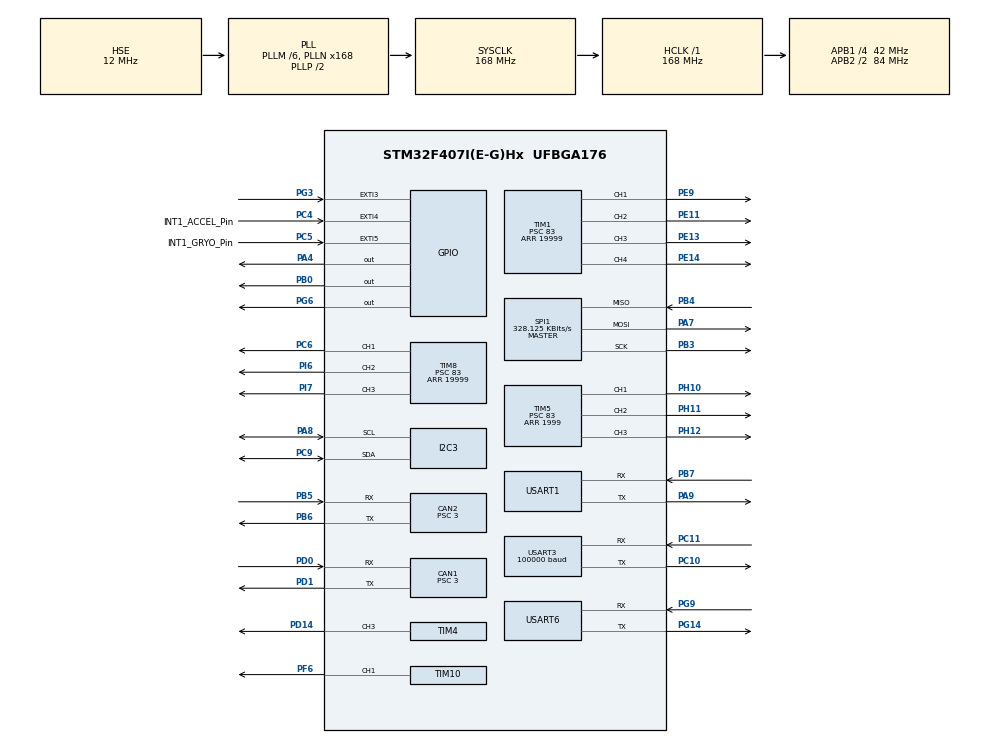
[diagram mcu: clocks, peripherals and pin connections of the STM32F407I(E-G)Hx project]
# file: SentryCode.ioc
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CAN1.BS1=CAN_BS1_10TQ
CAN1.BS2=CAN_BS2_3TQ
CAN1.CalculateBaudRate=1000000
CAN1.CalculateTimeBit=1000
CAN1.CalculateTimeQuantum=71.42857142857143
CAN1.Prescaler=3
CAN2.BS1=CAN_BS1_10TQ
CAN2.BS2=CAN_BS2_3TQ
CAN2.CalculateBaudRate=1000000
CAN2.CalculateTimeBit=1000
CAN2.CalculateTimeQuantum=71.42857142857143
CAN2.Prescaler=3
Dma.Request0=USART3_RX
Dma.Request1=USART1_TX
Dma.Request2=USART1_RX
Dma.Request3=USART6_RX
Dma.Request4=USART6_TX
Dma.Request5=TIM4_CH3
Dma.Request6=TIM5_CH1
Dma.Request7=TIM5_CH2
Dma.TIM4_CH3.5.Direction=DMA_PERIPH_TO_MEMORY
Dma.TIM4_CH3.5.FIFOMode=DMA_FIFOMODE_DISABLE
Dma.TIM4_CH3.5.Instance=DMA1_Stream7
Dma.TIM4_CH3.5.MemDataAlignment=DMA_MDATAALIGN_HALFWORD
Dma.TIM4_CH3.5.MemInc=DMA_MINC_ENABLE
Dma.TIM4_CH3.5.Mode=DMA_NORMAL
Dma.TIM4_CH3.5.PeriphDataAlignment=DMA_PDATAALIGN_HALFWORD
Dma.TIM4_CH3.5.PeriphInc=DMA_PINC_DISABLE
Dma.TIM4_CH3.5.Priority=DMA_PRIORITY_LOW
Dma.TIM5_CH1.6.Direction=DMA_PERIPH_TO_MEMORY
Dma.TIM5_CH1.6.FIFOMode=DMA_FIFOMODE_DISABLE
Dma.TIM5_CH1.6.Instance=DMA1_Stream2
Dma.TIM5_CH1.6.MemDataAlignment=DMA_MDATAALIGN_WORD
Dma.TIM5_CH1.6.MemInc=DMA_MINC_ENABLE
Dma.TIM5_CH1.6.Mode=DMA_NORMAL
Dma.TIM5_CH1.6.PeriphDataAlignment=DMA_PDATAALIGN_WORD
Dma.TIM5_CH1.6.PeriphInc=DMA_PINC_DISABLE
Dma.TIM5_CH1.6.Priority=DMA_PRIORITY_LOW
Dma.TIM5_CH2.7.Direction=DMA_PERIPH_TO_MEMORY
Dma.TIM5_CH2.7.FIFOMode=DMA_FIFOMODE_DISABLE
Dma.TIM5_CH2.7.Instance=DMA1_Stream4
Dma.TIM5_CH2.7.MemDataAlignment=DMA_MDATAALIGN_WORD
Dma.TIM5_CH2.7.MemInc=DMA_MINC_ENABLE
Dma.TIM5_CH2.7.Mode=DMA_NORMAL
Dma.TIM5_CH2.7.PeriphDataAlignment=DMA_PDATAALIGN_WORD
Dma.TIM5_CH2.7.PeriphInc=DMA_PINC_DISABLE
Dma.TIM5_CH2.7.Priority=DMA_PRIORITY_LOW
Dma.USART1_RX.2.Direction=DMA_PERIPH_TO_MEMORY
Dma.USART1_RX.2.FIFOMode=DMA_FIFOMODE_DISABLE
Dma.USART1_RX.2.Instance=DMA2_Stream2
Dma.USART1_RX.2.MemDataAlignment=DMA_MDATAALIGN_BYTE
Dma.USART1_RX.2.MemInc=DMA_MINC_ENABLE
Dma.USART1_RX.2.Mode=DMA_NORMAL
Dma.USART1_RX.2.PeriphDataAlignment=DMA_PDATAALIGN_BYTE
Dma.USART1_RX.2.PeriphInc=DMA_PINC_DISABLE
Dma.USART1_RX.2.Priority=DMA_PRIORITY_VERY_HIGH
Dma.USART1_TX.1.Direction=DMA_MEMORY_TO_PERIPH
Dma.USART1_TX.1.FIFOMode=DMA_FIFOMODE_DISABLE
Dma.USART1_TX.1.Instance=DMA2_Stream7
Dma.USART1_TX.1.MemDataAlignment=DMA_MDATAALIGN_BYTE
Dma.USART1_TX.1.MemInc=DMA_MINC_ENABLE
Dma.USART1_TX.1.Mode=DMA_NORMAL
Dma.USART1_TX.1.PeriphDataAlignment=DMA_PDATAALIGN_BYTE
Dma.USART1_TX.1.PeriphInc=DMA_PINC_DISABLE
Dma.USART1_TX.1.Priority=DMA_PRIORITY_VERY_HIGH
Dma.USART3_RX.0.Direction=DMA_PERIPH_TO_MEMORY
Dma.USART3_RX.0.FIFOMode=DMA_FIFOMODE_DISABLE
Dma.USART3_RX.0.Instance=DMA1_Stream1
Dma.USART3_RX.0.MemDataAlignment=DMA_MDATAALIGN_BYTE
Dma.USART3_RX.0.MemInc=DMA_MINC_ENABLE
Dma.USART3_RX.0.Mode=DMA_CIRCULAR
Dma.USART3_RX.0.PeriphDataAlignment=DMA_PDATAALIGN_BYTE
Dma.USART3_RX.0.PeriphInc=DMA_PINC_DISABLE
Dma.USART3_RX.0.Priority=DMA_PRIORITY_VERY_HIGH
Dma.USART6_RX.3.Direction=DMA_PERIPH_TO_MEMORY
Dma.USART6_RX.3.FIFOMode=DMA_FIFOMODE_DISABLE
Dma.USART6_RX.3.Instance=DMA2_Stream1
Dma.USART6_RX.3.MemDataAlignment=DMA_MDATAALIGN_BYTE
Dma.USART6_RX.3.MemInc=DMA_MINC_ENABLE
Dma.USART6_RX.3.Mode=DMA_NORMAL
Dma.USART6_RX.3.PeriphDataAlignment=DMA_PDATAALIGN_BYTE
Dma.USART6_RX.3.PeriphInc=DMA_PINC_DISABLE
Dma.USART6_RX.3.Priority=DMA_PRIORITY_VERY_HIGH
Dma.USART6_TX.4.Direction=DMA_MEMORY_TO_PERIPH
Dma.USART6_TX.4.FIFOMode=DMA_FIFOMODE_DISABLE
Dma.USART6_TX.4.Instance=DMA2_Stream6
Dma.USART6_TX.4.MemDataAlignment=DMA_MDATAALIGN_BYTE
Dma.USART6_TX.4.MemInc=DMA_MINC_ENABLE
Dma.USART6_TX.4.Mode=DMA_NORMAL
Dma.USART6_TX.4.PeriphDataAlignment=DMA_PDATAALIGN_BYTE
Dma.USART6_TX.4.PeriphInc=DMA_PINC_DISABLE
Dma.USART6_TX.4.Priority=DMA_PRIORITY_VERY_HIGH
FREERTOS.INCLUDE_pcTaskGetTaskName=1
FREERTOS.INCLUDE_xTaskGetHandle=1
FREERTOS.Tasks01=defaultTask,32,1024,TaskMain,Default,NULL,Dynamic,NULL,NULL;chassisTask,40,1124,TaskChassis,Default,NULL,Dynamic,NULL,NULL;IMUtempPIDtask,24,512,imu_temp_control_task,As weak,NULL,Dynamic,NULL,NULL;turretTask,40,1024,TaskTurret,Default,NULL,Dynamic,NULL,NULL
FREERTOS.configUSE_NEWLIB_REENTRANT=1
I2C3.I2C_Mode=I2C_Fast
Mcu.Family=STM32F4
Mcu.Name=STM32F407I(E-G)Hx
Mcu.Package=UFBGA176
NVIC.CAN1_RX0_IRQn=true\:5\:0\:false\:false\:true\:true\:true\:true\:true
NVIC.CAN2_RX0_IRQn=true\:5\:0\:false\:false\:true\:true\:true\:true\:true
NVIC.DMA1_Stream1_IRQn=true\:5\:0\:false\:false\:true\:true\:false\:true\:true
NVIC.DMA1_Stream2_IRQn=true\:5\:0\:false\:false\:true\:true\:false\:true\:true
NVIC.DMA1_Stream4_IRQn=true\:5\:0\:false\:false\:true\:true\:false\:true\:true
NVIC.DMA1_Stream7_IRQn=true\:5\:0\:false\:false\:true\:true\:false\:true\:true
NVIC.DMA2_Stream1_IRQn=true\:5\:0\:false\:false\:true\:true\:false\:true\:true
NVIC.DMA2_Stream2_IRQn=true\:5\:0\:false\:false\:true\:true\:false\:true\:true
NVIC.DMA2_Stream6_IRQn=true\:5\:0\:false\:false\:true\:true\:false\:true\:true
NVIC.DMA2_Stream7_IRQn=true\:5\:0\:false\:false\:true\:true\:false\:true\:true
NVIC.EXTI3_IRQn=true\:5\:0\:false\:false\:true\:true\:true\:true\:true
NVIC.EXTI4_IRQn=true\:5\:0\:false\:false\:true\:true\:true\:true\:true
NVIC.PriorityGroup=NVIC_PRIORITYGROUP_4
NVIC.USART1_IRQn=true\:5\:0\:false\:false\:true\:true\:true\:true\:true
NVIC.USART3_IRQn=true\:5\:0\:false\:false\:false\:true\:true\:true\:true
NVIC.USART6_IRQn=true\:5\:0\:false\:false\:true\:true\:true\:true\:true
PA13.Mode=Serial_Wire
PA13.Signal=SYS_JTMS-SWDIO
PA14.Mode=Serial_Wire
PA14.Signal=SYS_JTCK-SWCLK
PA4.Signal=GPIO_Output
PA7.Mode=Full_Duplex_Master
PA7.Signal=SPI1_MOSI
PA8.Mode=I2C
PA8.Signal=I2C3_SCL
PA9.Mode=Asynchronous
PA9.Signal=USART1_TX
PB0.Signal=GPIO_Output
PB3.Mode=Full_Duplex_Master
PB3.Signal=SPI1_SCK
PB4.Mode=Full_Duplex_Master
PB4.Signal=SPI1_MISO
PB5.Mode=CAN_Activate
PB5.Signal=CAN2_RX
PB6.Mode=CAN_Activate
PB6.Signal=CAN2_TX
PB7.Mode=Asynchronous
PB7.Signal=USART1_RX
PC10.Mode=Asynchronous
PC10.Signal=USART3_TX
PC11.Mode=Asynchronous
PC11.Signal=USART3_RX
PC4.GPIO_Label=INT1_ACCEL_Pin
PC4.Signal=GPXTI4
PC5.GPIO_Label=INT1_GRYO_Pin
PC5.Signal=GPXTI5
PC6.Signal=S_TIM8_CH1
PC9.Mode=I2C
PC9.Signal=I2C3_SDA
PD0.Mode=CAN_Activate
PD0.Signal=CAN1_RX
PD1.Mode=CAN_Activate
PD1.Signal=CAN1_TX
PD14.Signal=S_TIM4_CH3
PE11.Signal=S_TIM1_CH2
PE13.Signal=S_TIM1_CH3
PE14.Signal=S_TIM1_CH4
PE9.Signal=S_TIM1_CH1
PF6.GPIO_PuPd=GPIO_PULLUP
PF6.GPIO_Speed=GPIO_SPEED_FREQ_HIGH
PF6.Signal=S_TIM10_CH1
PG14.Mode=Asynchronous
PG14.Signal=USART6_TX
PG3.Signal=GPXTI3
PG6.Signal=GPIO_Output
PG9.Mode=Asynchronous
PG9.Signal=USART6_RX
PH0-OSC_IN.Mode=HSE-External-Oscillator
PH0-OSC_IN.Signal=RCC_OSC_IN
PH1-OSC_OUT.Mode=HSE-External-Oscillator
PH1-OSC_OUT.Signal=RCC_OSC_OUT
PH10.Signal=S_TIM5_CH1
PH11.Signal=S_TIM5_CH2
PH12.Signal=S_TIM5_CH3
PI6.Signal=S_TIM8_CH2
PI7.Signal=S_TIM8_CH3
ProjectManager.HeapSize=0x200
ProjectManager.StackSize=0x400
ProjectManager.TargetToolchain=STM32CubeIDE
RCC.48MHZClocksFreq_Value=84000000
RCC.AHBFreq_Value=168000000
RCC.APB1CLKDivider=RCC_HCLK_DIV4
RCC.APB1Freq_Value=42000000
RCC.APB1TimFreq_Value=84000000
RCC.APB2CLKDivider=RCC_HCLK_DIV2
RCC.APB2Freq_Value=84000000
RCC.APB2TimFreq_Value=168000000
RCC.CortexFreq_Value=168000000
RCC.EnbaleCSS=true
RCC.HCLKFreq_Value=168000000
RCC.HSE_VALUE=12000000
RCC.HSI_VALUE=16000000
RCC.LSE_VALUE=32768
RCC.PLLM=6
RCC.PLLN=168
RCC.PLLSourceVirtual=RCC_PLLSOURCE_HSE
RCC.SYSCLKFreq_VALUE=168000000
RCC.SYSCLKSource=RCC_SYSCLKSOURCE_PLLCLK
RCC.VCOOutputFreq_Value=336000000
SH.S_TIM10_CH1.0=TIM10_CH1,PWM Generation1 CH1
SH.S_TIM1_CH1.0=TIM1_CH1,PWM Generation1 CH1
SH.S_TIM1_CH2.0=TIM1_CH2,PWM Generation2 CH2
SH.S_TIM1_CH3.0=TIM1_CH3,PWM Generation3 CH3
SH.S_TIM1_CH4.0=TIM1_CH4,PWM Generation4 CH4
SH.S_TIM4_CH3.0=TIM4_CH3,PWM Generation3 CH3
SH.S_TIM5_CH1.0=TIM5_CH1,PWM Generation1 CH1
SH.S_TIM5_CH2.0=TIM5_CH2,PWM Generation2 CH2
SH.S_TIM5_CH3.0=TIM5_CH3,PWM Generation3 CH3
SH.S_TIM8_CH1.0=TIM8_CH1,PWM Generation1 CH1
SH.S_TIM8_CH2.0=TIM8_CH2,PWM Generation2 CH2
SH.S_TIM8_CH3.0=TIM8_CH3,PWM Generation3 CH3
SPI1.BaudRatePrescaler=SPI_BAUDRATEPRESCALER_256
SPI1.CLKPhase=SPI_PHASE_2EDGE
SPI1.CLKPolarity=SPI_POLARITY_HIGH
SPI1.CalculateBaudRate=328.125 KBits/s
SPI1.Direction=SPI_DIRECTION_2LINES
SPI1.Mode=SPI_MODE_MASTER
SPI1.VirtualType=VM_MASTER
TIM1.AutoReloadPreload=TIM_AUTORELOAD_PRELOAD_DISABLE
TIM1.Channel-PWM\ Generation1\ CH1=TIM_CHANNEL_1
TIM1.Channel-PWM\ Generation2\ CH2=TIM_CHANNEL_2
TIM1.Channel-PWM\ Generation3\ CH3=TIM_CHANNEL_3
TIM1.Channel-PWM\ Generation4\ CH4=TIM_CHANNEL_4
TIM1.Period=19999
TIM1.Prescaler=83
TIM1.Pulse-PWM\ Generation1\ CH1=0
TIM10.Channel=TIM_CHANNEL_1
TIM10.Period=4999
TIM4.AutoReloadPreload=TIM_AUTORELOAD_PRELOAD_ENABLE
TIM4.Channel-PWM\ Generation3\ CH3=TIM_CHANNEL_3
TIM4.Period=20999
TIM4.Prescaler=83
TIM4.Pulse-PWM\ Generation3\ CH3=10499
TIM5.Channel-PWM\ Generation1\ CH1=TIM_CHANNEL_1
TIM5.Channel-PWM\ Generation2\ CH2=TIM_CHANNEL_2
TIM5.Channel-PWM\ Generation3\ CH3=TIM_CHANNEL_3
TIM5.Period=1999
TIM5.Prescaler=83
TIM8.AutoReloadPreload=TIM_AUTORELOAD_PRELOAD_ENABLE
TIM8.Channel-PWM\ Generation1\ CH1=TIM_CHANNEL_1
TIM8.Channel-PWM\ Generation2\ CH2=TIM_CHANNEL_2
TIM8.Channel-PWM\ Generation3\ CH3=TIM_CHANNEL_3
TIM8.Period=19999
TIM8.Prescaler=83
USART1.VirtualMode=VM_ASYNC
USART3.BaudRate=100000
USART3.Parity=PARITY_EVEN
USART3.VirtualMode=VM_ASYNC
USART6.VirtualMode=VM_ASYNC
VP_FREERTOS_VS_CMSIS_V2.Mode=CMSIS_V2
VP_TIM10_VS_ClockSourceINT.Mode=Enable_Timer
VP_TIM4_VS_ClockSourceINT.Mode=Internal
board=custom

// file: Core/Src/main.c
/* USER CODE BEGIN Header */
/**
  ******************************************************************************
  * @file           : main.c
  * @brief          : Main program body
  ******************************************************************************
  * @attention
  *
  * Copyright (c) 2024 STMicroelectronics.
  * All rights reserved.
  *
  * This software is licensed under terms that can be found in the LICENSE file
  * in the root directory of this software component.
  * If no LICENSE file comes with this software, it is provided AS-IS.
  *
  ******************************************************************************
  */
/* USER CODE END Header */
#include "main.h"
#include "cmsis_os.h"

/* USER CODE BEGIN Includes */
//#include "CAN_receive.h"
#include "CAN.h"
#include "bsp_can.h"
#include "remote_control.h"
#include "bsp_rc.h"
#include "UART.h"
#include "stdio.h"
#include "stdarg.h"
#include "string.h"
#include "BMI088driver.h"
#include "pid.h"
#include "bsp_imu_pwm.h"
#include "ist8310driver.h"
#include "pwm.h"
#include "songs.h"
#include "buffer.h"
#include "math.h"
#include "driving.h"
#include "I2C.h"
/* USER CODE END Includes */

CAN_HandleTypeDef hcan1;
CAN_HandleTypeDef hcan2;

I2C_HandleTypeDef hi2c3;

SPI_HandleTypeDef hspi1;

TIM_HandleTypeDef htim1;
TIM_HandleTypeDef htim4;
TIM_HandleTypeDef htim5;
TIM_HandleTypeDef htim8;
TIM_HandleTypeDef htim10;
DMA_HandleTypeDef hdma_tim4_ch3;
DMA_HandleTypeDef hdma_tim5_ch1;
DMA_HandleTypeDef hdma_tim5_ch2;

UART_HandleTypeDef huart1;
UART_HandleTypeDef huart3;
UART_HandleTypeDef huart6;
DMA_HandleTypeDef hdma_usart1_tx;
DMA_HandleTypeDef hdma_usart1_rx;
DMA_HandleTypeDef hdma_usart3_rx;
DMA_HandleTypeDef hdma_usart6_rx;
DMA_HandleTypeDef hdma_usart6_tx;

/* Definitions for defaultTask */
osThreadId_t defaultTaskHandle;
const osThreadAttr_t defaultTask_attributes = {
  .name = "defaultTask",
  .stack_size = 1024 * 4,
  .priority = (osPriority_t) osPriorityAboveNormal,
};
/* Definitions for chassisTask */
osThreadId_t chassisTaskHandle;
const osThreadAttr_t chassisTask_attributes = {
  .name = "chassisTask",
  .stack_size = 1124 * 4,
  .priority = (osPriority_t) osPriorityHigh,
};
/* Definitions for IMUtempPIDtask */
osThreadId_t IMUtempPIDtaskHandle;
const osThreadAttr_t IMUtempPIDtask_attributes = {
  .name = "IMUtempPIDtask",
  .stack_size = 512 * 4,
  .priority = (osPriority_t) osPriorityNormal,
};
/* Definitions for turretTask */
osThreadId_t turretTaskHandle;
const osThreadAttr_t turretTask_attributes = {
  .name = "turretTask",
  .stack_size = 1024 * 4,
  .priority = (osPriority_t) osPriorityHigh,
};
/* USER CODE BEGIN PV */
const RC_ctrl_t *local_rc_ctrl;
//3.6 0.015, 4.2
PID_preset_t chassisPreset = {3.6, 0, 0};  //0.8f, 0.025f, 0.95f   {1.6, 0.045, 0.10}; 32 0.4
PID_preset_t yawPresetCurrentRPM = {46, 10.0, 16.4};

PID_preset_t yawPresetVoltageRPM = {300, 0, 0};

PID_preset_t yawPresetCurrentPosition = {12, 1, 0.0};
PID_preset_t yawPresetVoltagePosition = {36, 0.3, 0.0};

int16_t joystickTunner = 0;

// 50, 0, 110
PID_preset_t pitchPresetVoltagePosition = {70.0, 0.0, 421.0};
PID_preset_t indexerPreset = {1.1f, 0.02f, -2.4f};
PID_preset_t shooterPreset = {1.20f, 0.12f, 1.60f};
PID_preset_t powerPreset = {0, 0.000000000001, 0};
PID_preset_t flywheel = {12, 0, 0};
PID_preset_t customPreset = {0, 0, 0};

int target = 2000;
float JoulesBuffer = 60;
float maxPower = 0;

uint8_t currentGameStatus = 0;
uint8_t calibration = 0;
uint8_t rotationTime = 0;
uint8_t shootingPhase = 0;
uint8_t songPhase = 0;
uint8_t firingStages = 0;
uint8_t SHOOT = 0;

uint8_t setY = 70;
uint8_t setX = 120;

float mouseXScaler = 0.85;
float mouseYScaler = 0.17;

extern game_status_t game_status;
extern power_heat_data_t power_heat_data;
extern robot_status_t robot_status;
extern pc_control_t pc_control;
extern cv_receive_t cv_receive;

float calcChassisPower = 0;

/* USER CODE END PV */

void SystemClock_Config(void);
static void MX_GPIO_Init(void);
static void MX_DMA_Init(void);
static void MX_CAN1_Init(void);
static void MX_CAN2_Init(void);
static void MX_SPI1_Init(void);
static void MX_TIM4_Init(void);
static void MX_USART1_UART_Init(void);
static void MX_USART6_UART_Init(void);
static void MX_TIM1_Init(void);
static void MX_TIM8_Init(void);
static void MX_USART3_UART_Init(void);
static void MX_TIM10_Init(void);
static void MX_I2C3_Init(void);
static void MX_TIM5_Init(void);
void TaskMain(void *argument);
void TaskChassis(void *argument);
void imu_temp_control_task(void *argument);
void TaskTurret(void *argument);

int main(void)
{

  /* MCU Configuration--------------------------------------------------------*/

  /* Reset of all peripherals, Initializes the Flash interface and the Systick. */
  HAL_Init();

  /* Configure the system clock */
  SystemClock_Config();

  /* Initialize all configured peripherals */
  MX_GPIO_Init();
  MX_DMA_Init();
  MX_CAN1_Init();
  MX_CAN2_Init();
  MX_SPI1_Init();
  MX_TIM4_Init();
  MX_USART1_UART_Init();
  MX_USART6_UART_Init();
  MX_TIM1_Init();
  MX_TIM8_Init();
  MX_USART3_UART_Init();
  MX_TIM10_Init();
  MX_I2C3_Init();
  MX_TIM5_Init();
  /* USER CODE BEGIN 2 */
  can_filter_init();
  remote_control_init();
  usart_Init();
  local_rc_ctrl = get_remote_control_point();
  //__HAL_UART_ENABLE_IT(&huart1,UART_IT_IDLE);
  /* USER CODE END 2 */

  /* Init scheduler */
  osKernelInitialize();

  /* Create the thread(s) */
  /* creation of defaultTask */
  defaultTaskHandle = osThreadNew(TaskMain, NULL, &defaultTask_attributes);

  /* creation of chassisTask */
  chassisTaskHandle = osThreadNew(TaskChassis, NULL, &chassisTask_attributes);

  /* creation of IMUtempPIDtask */
  IMUtempPIDtaskHandle = osThreadNew(imu_temp_control_task, NULL, &IMUtempPIDtask_attributes);

  /* creation of turretTask */
  turretTaskHandle = osThreadNew(TaskTurret, NULL, &turretTask_attributes);

  /* Start scheduler */
  osKernelStart();

  /* We should never get here as control is now taken by the scheduler */

  /* Infinite loop */
  while (1)
  {

  }
}

void SystemClock_Config(void)
{
  RCC_OscInitTypeDef RCC_OscInitStruct = {0};
  RCC_ClkInitTypeDef RCC_ClkInitStruct = {0};

  /** Configure the main internal regulator output voltage
  */
  __HAL_RCC_PWR_CLK_ENABLE();
  __HAL_PWR_VOLTAGESCALING_CONFIG(PWR_REGULATOR_VOLTAGE_SCALE1);

  /** Initializes the RCC Oscillators according to the specified parameters
  * in the RCC_OscInitTypeDef structure.
  */
  RCC_OscInitStruct.OscillatorType = RCC_OSCILLATORTYPE_HSE;
  RCC_OscInitStruct.HSEState = RCC_HSE_ON;
  RCC_OscInitStruct.PLL.PLLState = RCC_PLL_ON;
  RCC_OscInitStruct.PLL.PLLSource = RCC_PLLSOURCE_HSE;
  RCC_OscInitStruct.PLL.PLLM = 6;
  RCC_OscInitStruct.PLL.PLLN = 168;
  RCC_OscInitStruct.PLL.PLLP = RCC_PLLP_DIV2;
  RCC_OscInitStruct.PLL.PLLQ = 4;
  if (HAL_RCC_OscConfig(&RCC_OscInitStruct) != HAL_OK)
  {
    Error_Handler();
  }

  /** Initializes the CPU, AHB and APB buses clocks
  */
  RCC_ClkInitStruct.ClockType = RCC_CLOCKTYPE_HCLK|RCC_CLOCKTYPE_SYSCLK
                              |RCC_CLOCKTYPE_PCLK1|RCC_CLOCKTYPE_PCLK2;
  RCC_ClkInitStruct.SYSCLKSource = RCC_SYSCLKSOURCE_PLLCLK;
  RCC_ClkInitStruct.AHBCLKDivider = RCC_SYSCLK_DIV1;
  RCC_ClkInitStruct.APB1CLKDivider = RCC_HCLK_DIV4;
  RCC_ClkInitStruct.APB2CLKDivider = RCC_HCLK_DIV2;

  if (HAL_RCC_ClockConfig(&RCC_ClkInitStruct, FLASH_LATENCY_5) != HAL_OK)
  {
    Error_Handler();
  }

  /** Enables the Clock Security System
  */
  HAL_RCC_EnableCSS();
}

static void MX_CAN1_Init(void)
{

  hcan1.Instance = CAN1;
  hcan1.Init.Prescaler = 3;
  hcan1.Init.Mode = CAN_MODE_NORMAL;
  hcan1.Init.SyncJumpWidth = CAN_SJW_1TQ;
  hcan1.Init.TimeSeg1 = CAN_BS1_10TQ;
  hcan1.Init.TimeSeg2 = CAN_BS2_3TQ;
  hcan1.Init.TimeTriggeredMode = DISABLE;
  hcan1.Init.AutoBusOff = DISABLE;
  hcan1.Init.AutoWakeUp = DISABLE;
  hcan1.Init.AutoRetransmission = DISABLE;
  hcan1.Init.ReceiveFifoLocked = DISABLE;
  hcan1.Init.TransmitFifoPriority = DISABLE;
  if (HAL_CAN_Init(&hcan1) != HAL_OK)
  {
    Error_Handler();
  }

}

static void MX_CAN2_Init(void)
{

  hcan2.Instance = CAN2;
  hcan2.Init.Prescaler = 3;
  hcan2.Init.Mode = CAN_MODE_NORMAL;
  hcan2.Init.SyncJumpWidth = CAN_SJW_1TQ;
  hcan2.Init.TimeSeg1 = CAN_BS1_10TQ;
  hcan2.Init.TimeSeg2 = CAN_BS2_3TQ;
  hcan2.Init.TimeTriggeredMode = DISABLE;
  hcan2.Init.AutoBusOff = DISABLE;
  hcan2.Init.AutoWakeUp = DISABLE;
  hcan2.Init.AutoRetransmission = DISABLE;
  hcan2.Init.ReceiveFifoLocked = DISABLE;
  hcan2.Init.TransmitFifoPriority = DISABLE;
  if (HAL_CAN_Init(&hcan2) != HAL_OK)
  {
    Error_Handler();
  }

}

static void MX_I2C3_Init(void)
{

  hi2c3.Instance = I2C3;
  hi2c3.Init.ClockSpeed = 400000;
  hi2c3.Init.DutyCycle = I2C_DUTYCYCLE_2;
  hi2c3.Init.OwnAddress1 = 0;
  hi2c3.Init.AddressingMode = I2C_ADDRESSINGMODE_7BIT;
  hi2c3.Init.DualAddressMode = I2C_DUALADDRESS_DISABLE;
  hi2c3.Init.OwnAddress2 = 0;
  hi2c3.Init.GeneralCallMode = I2C_GENERALCALL_DISABLE;
  hi2c3.Init.NoStretchMode = I2C_NOSTRETCH_DISABLE;
  if (HAL_I2C_Init(&hi2c3) != HAL_OK)
  {
    Error_Handler();
  }

}

static void MX_SPI1_Init(void)
{

  /* SPI1 parameter configuration*/
  hspi1.Instance = SPI1;
  hspi1.Init.Mode = SPI_MODE_MASTER;
  hspi1.Init.Direction = SPI_DIRECTION_2LINES;
  hspi1.Init.DataSize = SPI_DATASIZE_8BIT;
  hspi1.Init.CLKPolarity = SPI_POLARITY_HIGH;
  hspi1.Init.CLKPhase = SPI_PHASE_2EDGE;
  hspi1.Init.NSS = SPI_NSS_SOFT;
  hspi1.Init.BaudRatePrescaler = SPI_BAUDRATEPRESCALER_256;
  hspi1.Init.FirstBit = SPI_FIRSTBIT_MSB;
  hspi1.Init.TIMode = SPI_TIMODE_DISABLE;
  hspi1.Init.CRCCalculation = SPI_CRCCALCULATION_DISABLE;
  hspi1.Init.CRCPolynomial = 10;
  if (HAL_SPI_Init(&hspi1) != HAL_OK)
  {
    Error_Handler();
  }

}

static void MX_TIM1_Init(void)
{

  TIM_MasterConfigTypeDef sMasterConfig = {0};
  TIM_OC_InitTypeDef sConfigOC = {0};
  TIM_BreakDeadTimeConfigTypeDef sBreakDeadTimeConfig = {0};

  htim1.Instance = TIM1;
  htim1.Init.Prescaler = 83;
  htim1.Init.CounterMode = TIM_COUNTERMODE_UP;
  htim1.Init.Period = 19999;
  htim1.Init.ClockDivision = TIM_CLOCKDIVISION_DIV1;
  htim1.Init.RepetitionCounter = 0;
  htim1.Init.AutoReloadPreload = TIM_AUTORELOAD_PRELOAD_DISABLE;
  if (HAL_TIM_PWM_Init(&htim1) != HAL_OK)
  {
    Error_Handler();
  }
  sMasterConfig.MasterOutputTrigger = TIM_TRGO_RESET;
  sMasterConfig.MasterSlaveMode = TIM_MASTERSLAVEMODE_DISABLE;
  if (HAL_TIMEx_MasterConfigSynchronization(&htim1, &sMasterConfig) != HAL_OK)
  {
    Error_Handler();
  }
  sConfigOC.OCMode = TIM_OCMODE_PWM1;
  sConfigOC.Pulse = 0;
  sConfigOC.OCPolarity = TIM_OCPOLARITY_HIGH;
  sConfigOC.OCNPolarity = TIM_OCNPOLARITY_HIGH;
  sConfigOC.OCFastMode = TIM_OCFAST_DISABLE;
  sConfigOC.OCIdleState = TIM_OCIDLESTATE_RESET;
  sConfigOC.OCNIdleState = TIM_OCNIDLESTATE_RESET;
  if (HAL_TIM_PWM_ConfigChannel(&htim1, &sConfigOC, TIM_CHANNEL_1) != HAL_OK)
  {
    Error_Handler();
  }
  if (HAL_TIM_PWM_ConfigChannel(&htim1, &sConfigOC, TIM_CHANNEL_2) != HAL_OK)
  {
    Error_Handler();
  }
  if (HAL_TIM_PWM_ConfigChannel(&htim1, &sConfigOC, TIM_CHANNEL_3) != HAL_OK)
  {
    Error_Handler();
  }
  if (HAL_TIM_PWM_ConfigChannel(&htim1, &sConfigOC, TIM_CHANNEL_4) != HAL_OK)
  {
    Error_Handler();
  }
  sBreakDeadTimeConfig.OffStateRunMode = TIM_OSSR_DISABLE;
  sBreakDeadTimeConfig.OffStateIDLEMode = TIM_OSSI_DISABLE;
  sBreakDeadTimeConfig.LockLevel = TIM_LOCKLEVEL_OFF;
  sBreakDeadTimeConfig.DeadTime = 0;
  sBreakDeadTimeConfig.BreakState = TIM_BREAK_DISABLE;
  sBreakDeadTimeConfig.BreakPolarity = TIM_BREAKPOLARITY_HIGH;
  sBreakDeadTimeConfig.AutomaticOutput = TIM_AUTOMATICOUTPUT_DISABLE;
  if (HAL_TIMEx_ConfigBreakDeadTime(&htim1, &sBreakDeadTimeConfig) != HAL_OK)
  {
    Error_Handler();
  }
  HAL_TIM_MspPostInit(&htim1);

}

static void MX_TIM4_Init(void)
{

  TIM_ClockConfigTypeDef sClockSourceConfig = {0};
  TIM_MasterConfigTypeDef sMasterConfig = {0};
  TIM_OC_InitTypeDef sConfigOC = {0};

  htim4.Instance = TIM4;
  htim4.Init.Prescaler = 83;
  htim4.Init.CounterMode = TIM_COUNTERMODE_UP;
  htim4.Init.Period = 20999;
  htim4.Init.ClockDivision = TIM_CLOCKDIVISION_DIV1;
  htim4.Init.AutoReloadPreload = TIM_AUTORELOAD_PRELOAD_ENABLE;
  if (HAL_TIM_Base_Init(&htim4) != HAL_OK)
  {
    Error_Handler();
  }
  sClockSourceConfig.ClockSource = TIM_CLOCKSOURCE_INTERNAL;
  if (HAL_TIM_ConfigClockSource(&htim4, &sClockSourceConfig) != HAL_OK)
  {
    Error_Handler();
  }
  if (HAL_TIM_PWM_Init(&htim4) != HAL_OK)
  {
    Error_Handler();
  }
  sMasterConfig.MasterOutputTrigger = TIM_TRGO_RESET;
  sMasterConfig.MasterSlaveMode = TIM_MASTERSLAVEMODE_DISABLE;
  if (HAL_TIMEx_MasterConfigSynchronization(&htim4, &sMasterConfig) != HAL_OK)
  {
    Error_Handler();
  }
  sConfigOC.OCMode = TIM_OCMODE_PWM1;
  sConfigOC.Pulse = 10499;
  sConfigOC.OCPolarity = TIM_OCPOLARITY_HIGH;
  sConfigOC.OCFastMode = TIM_OCFAST_DISABLE;
  if (HAL_TIM_PWM_ConfigChannel(&htim4, &sConfigOC, TIM_CHANNEL_3) != HAL_OK)
  {
    Error_Handler();
  }
  HAL_TIM_MspPostInit(&htim4);

}

static void MX_TIM5_Init(void)
{

  TIM_MasterConfigTypeDef sMasterConfig = {0};
  TIM_OC_InitTypeDef sConfigOC = {0};

  htim5.Instance = TIM5;
  htim5.Init.Prescaler = 83;
  htim5.Init.CounterMode = TIM_COUNTERMODE_UP;
  htim5.Init.Period = 1999;
  htim5.Init.ClockDivision = TIM_CLOCKDIVISION_DIV1;
  htim5.Init.AutoReloadPreload = TIM_AUTORELOAD_PRELOAD_DISABLE;
  if (HAL_TIM_PWM_Init(&htim5) != HAL_OK)
  {
    Error_Handler();
  }
  sMasterConfig.MasterOutputTrigger = TIM_TRGO_RESET;
  sMasterConfig.MasterSlaveMode = TIM_MASTERSLAVEMODE_DISABLE;
  if (HAL_TIMEx_MasterConfigSynchronization(&htim5, &sMasterConfig) != HAL_OK)
  {
    Error_Handler();
  }
  sConfigOC.OCMode = TIM_OCMODE_PWM1;
  sConfigOC.Pulse = 0;
  sConfigOC.OCPolarity = TIM_OCPOLARITY_HIGH;
  sConfigOC.OCFastMode = TIM_OCFAST_DISABLE;
  if (HAL_TIM_PWM_ConfigChannel(&htim5, &sConfigOC, TIM_CHANNEL_1) != HAL_OK)
  {
    Error_Handler();
  }
  if (HAL_TIM_PWM_ConfigChannel(&htim5, &sConfigOC, TIM_CHANNEL_2) != HAL_OK)
  {
    Error_Handler();
  }
  if (HAL_TIM_PWM_ConfigChannel(&htim5, &sConfigOC, TIM_CHANNEL_3) != HAL_OK)
  {
    Error_Handler();
  }
  HAL_TIM_MspPostInit(&htim5);

}

static void MX_TIM8_Init(void)
{

  TIM_MasterConfigTypeDef sMasterConfig = {0};
  TIM_OC_InitTypeDef sConfigOC = {0};
  TIM_BreakDeadTimeConfigTypeDef sBreakDeadTimeConfig = {0};

  htim8.Instance = TIM8;
  htim8.Init.Prescaler = 83;
  htim8.Init.CounterMode = TIM_COUNTERMODE_UP;
  htim8.Init.Period = 19999;
  htim8.Init.ClockDivision = TIM_CLOCKDIVISION_DIV1;
  htim8.Init.RepetitionCounter = 0;
  htim8.Init.AutoReloadPreload = TIM_AUTORELOAD_PRELOAD_ENABLE;
  if (HAL_TIM_PWM_Init(&htim8) != HAL_OK)
  {
    Error_Handler();
  }
  sMasterConfig.MasterOutputTrigger = TIM_TRGO_RESET;
  sMasterConfig.MasterSlaveMode = TIM_MASTERSLAVEMODE_DISABLE;
  if (HAL_TIMEx_MasterConfigSynchronization(&htim8, &sMasterConfig) != HAL_OK)
  {
    Error_Handler();
  }
  sConfigOC.OCMode = TIM_OCMODE_PWM1;
  sConfigOC.Pulse = 0;
  sConfigOC.OCPolarity = TIM_OCPOLARITY_HIGH;
  sConfigOC.OCNPolarity = TIM_OCNPOLARITY_HIGH;
  sConfigOC.OCFastMode = TIM_OCFAST_DISABLE;
  sConfigOC.OCIdleState = TIM_OCIDLESTATE_RESET;
  sConfigOC.OCNIdleState = TIM_OCNIDLESTATE_RESET;
  if (HAL_TIM_PWM_ConfigChannel(&htim8, &sConfigOC, TIM_CHANNEL_1) != HAL_OK)
  {
    Error_Handler();
  }
  if (HAL_TIM_PWM_ConfigChannel(&htim8, &sConfigOC, TIM_CHANNEL_2) != HAL_OK)
  {
    Error_Handler();
  }
  if (HAL_TIM_PWM_ConfigChannel(&htim8, &sConfigOC, TIM_CHANNEL_3) != HAL_OK)
  {
    Error_Handler();
  }
  sBreakDeadTimeConfig.OffStateRunMode = TIM_OSSR_DISABLE;
  sBreakDeadTimeConfig.OffStateIDLEMode = TIM_OSSI_DISABLE;
  sBreakDeadTimeConfig.LockLevel = TIM_LOCKLEVEL_OFF;
  sBreakDeadTimeConfig.DeadTime = 0;
  sBreakDeadTimeConfig.BreakState = TIM_BREAK_DISABLE;
  sBreakDeadTimeConfig.BreakPolarity = TIM_BREAKPOLARITY_HIGH;
  sBreakDeadTimeConfig.AutomaticOutput = TIM_AUTOMATICOUTPUT_DISABLE;
  if (HAL_TIMEx_ConfigBreakDeadTime(&htim8, &sBreakDeadTimeConfig) != HAL_OK)
  {
    Error_Handler();
  }
  HAL_TIM_MspPostInit(&htim8);

}

static void MX_TIM10_Init(void)
{

  TIM_OC_InitTypeDef sConfigOC = {0};

  htim10.Instance = TIM10;
  htim10.Init.Prescaler = 0;
  htim10.Init.CounterMode = TIM_COUNTERMODE_UP;
  htim10.Init.Period = 4999;
  htim10.Init.ClockDivision = TIM_CLOCKDIVISION_DIV1;
  htim10.Init.AutoReloadPreload = TIM_AUTORELOAD_PRELOAD_DISABLE;
  if (HAL_TIM_Base_Init(&htim10) != HAL_OK)
  {
    Error_Handler();
  }
  if (HAL_TIM_PWM_Init(&htim10) != HAL_OK)
  {
    Error_Handler();
  }
  sConfigOC.OCMode = TIM_OCMODE_PWM1;
  sConfigOC.Pulse = 0;
  sConfigOC.OCPolarity = TIM_OCPOLARITY_HIGH;
  sConfigOC.OCFastMode = TIM_OCFAST_DISABLE;
  if (HAL_TIM_PWM_ConfigChannel(&htim10, &sConfigOC, TIM_CHANNEL_1) != HAL_OK)
  {
    Error_Handler();
  }
  HAL_TIM_MspPostInit(&htim10);

}

static void MX_USART1_UART_Init(void)
{

  huart1.Instance = USART1;
  huart1.Init.BaudRate = 115200;
  huart1.Init.WordLength = UART_WORDLENGTH_8B;
  huart1.Init.StopBits = UART_STOPBITS_1;
  huart1.Init.Parity = UART_PARITY_NONE;
  huart1.Init.Mode = UART_MODE_TX_RX;
  huart1.Init.HwFlowCtl = UART_HWCONTROL_NONE;
  huart1.Init.OverSampling = UART_OVERSAMPLING_16;
  if (HAL_UART_Init(&huart1) != HAL_OK)
  {
    Error_Handler();
  }

}

static void MX_USART3_UART_Init(void)
{

  huart3.Instance = USART3;
  huart3.Init.BaudRate = 100000;
  huart3.Init.WordLength = UART_WORDLENGTH_8B;
  huart3.Init.StopBits = UART_STOPBITS_1;
  huart3.Init.Parity = UART_PARITY_EVEN;
  huart3.Init.Mode = UART_MODE_TX_RX;
  huart3.Init.HwFlowCtl = UART_HWCONTROL_NONE;
  huart3.Init.OverSampling = UART_OVERSAMPLING_16;
  if (HAL_UART_Init(&huart3) != HAL_OK)
  {
    Error_Handler();
  }

}

static void MX_USART6_UART_Init(void)
{

  huart6.Instance = USART6;
  huart6.Init.BaudRate = 115200;
  huart6.Init.WordLength = UART_WORDLENGTH_8B;
  huart6.Init.StopBits = UART_STOPBITS_1;
  huart6.Init.Parity = UART_PARITY_NONE;
  huart6.Init.Mode = UART_MODE_TX_RX;
  huart6.Init.HwFlowCtl = UART_HWCONTROL_NONE;
  huart6.Init.OverSampling = UART_OVERSAMPLING_16;
  if (HAL_UART_Init(&huart6) != HAL_OK)
  {
    Error_Handler();
  }

}

static void MX_DMA_Init(void)
{

  /* DMA controller clock enable */
  __HAL_RCC_DMA1_CLK_ENABLE();
  __HAL_RCC_DMA2_CLK_ENABLE();

  /* DMA interrupt init */
  /* DMA1_Stream1_IRQn interrupt configuration */
  HAL_NVIC_SetPriority(DMA1_Stream1_IRQn, 5, 0);
  HAL_NVIC_EnableIRQ(DMA1_Stream1_IRQn);
  /* DMA1_Stream2_IRQn interrupt configuration */
  HAL_NVIC_SetPriority(DMA1_Stream2_IRQn, 5, 0);
  HAL_NVIC_EnableIRQ(DMA1_Stream2_IRQn);
  /* DMA1_Stream4_IRQn interrupt configuration */
  HAL_NVIC_SetPriority(DMA1_Stream4_IRQn, 5, 0);
  HAL_NVIC_EnableIRQ(DMA1_Stream4_IRQn);
  /* DMA1_Stream7_IRQn interrupt configuration */
  HAL_NVIC_SetPriority(DMA1_Stream7_IRQn, 5, 0);
  HAL_NVIC_EnableIRQ(DMA1_Stream7_IRQn);
  /* DMA2_Stream1_IRQn interrupt configuration */
  HAL_NVIC_SetPriority(DMA2_Stream1_IRQn, 5, 0);
  HAL_NVIC_EnableIRQ(DMA2_Stream1_IRQn);
  /* DMA2_Stream2_IRQn interrupt configuration */
  HAL_NVIC_SetPriority(DMA2_Stream2_IRQn, 5, 0);
  HAL_NVIC_EnableIRQ(DMA2_Stream2_IRQn);
  /* DMA2_Stream6_IRQn interrupt configuration */
  HAL_NVIC_SetPriority(DMA2_Stream6_IRQn, 5, 0);
  HAL_NVIC_EnableIRQ(DMA2_Stream6_IRQn);
  /* DMA2_Stream7_IRQn interrupt configuration */
  HAL_NVIC_SetPriority(DMA2_Stream7_IRQn, 5, 0);
  HAL_NVIC_EnableIRQ(DMA2_Stream7_IRQn);

}

static void MX_GPIO_Init(void)
{
  GPIO_InitTypeDef GPIO_InitStruct = {0};

  /* GPIO Ports Clock Enable */
  __HAL_RCC_GPIOB_CLK_ENABLE();
  __HAL_RCC_GPIOG_CLK_ENABLE();
  __HAL_RCC_GPIOA_CLK_ENABLE();
  __HAL_RCC_GPIOD_CLK_ENABLE();
  __HAL_RCC_GPIOC_CLK_ENABLE();
  __HAL_RCC_GPIOI_CLK_ENABLE();
  __HAL_RCC_GPIOH_CLK_ENABLE();
  __HAL_RCC_GPIOF_CLK_ENABLE();
  __HAL_RCC_GPIOE_CLK_ENABLE();

  /*Configure GPIO pin Output Level */
  HAL_GPIO_WritePin(GPIOG, GPIO_PIN_6, GPIO_PIN_RESET);

  /*Configure GPIO pin Output Level */
  HAL_GPIO_WritePin(GPIOA, GPIO_PIN_4, GPIO_PIN_RESET);

  /*Configure GPIO pin Output Level */
  HAL_GPIO_WritePin(GPIOB, GPIO_PIN_0, GPIO_PIN_RESET);

  /*Configure GPIO pin : PG6 */
  GPIO_InitStruct.Pin = GPIO_PIN_6;
  GPIO_InitStruct.Mode = GPIO_MODE_OUTPUT_PP;
  GPIO_InitStruct.Pull = GPIO_NOPULL;
  GPIO_InitStruct.Speed = GPIO_SPEED_FREQ_LOW;
  HAL_GPIO_Init(GPIOG, &GPIO_InitStruct);

  /*Configure GPIO pin : PG3 */
  GPIO_InitStruct.Pin = GPIO_PIN_3;
  GPIO_InitStruct.Mode = GPIO_MODE_IT_RISING;
  GPIO_InitStruct.Pull = GPIO_NOPULL;
  HAL_GPIO_Init(GPIOG, &GPIO_InitStruct);

  /*Configure GPIO pin : PA4 */
  GPIO_InitStruct.Pin = GPIO_PIN_4;
  GPIO_InitStruct.Mode = GPIO_MODE_OUTPUT_PP;
  GPIO_InitStruct.Pull = GPIO_NOPULL;
  GPIO_InitStruct.Speed = GPIO_SPEED_FREQ_LOW;
  HAL_GPIO_Init(GPIOA, &GPIO_InitStruct);

  /*Configure GPIO pins : INT1_ACCEL_Pin_Pin INT1_GRYO_Pin_Pin */
  GPIO_InitStruct.Pin = INT1_ACCEL_Pin_Pin|INT1_GRYO_Pin_Pin;
  GPIO_InitStruct.Mode = GPIO_MODE_IT_RISING;
  GPIO_InitStruct.Pull = GPIO_NOPULL;
  HAL_GPIO_Init(GPIOC, &GPIO_InitStruct);

  /*Configure GPIO pin : PB0 */
  GPIO_InitStruct.Pin = GPIO_PIN_0;
  GPIO_InitStruct.Mode = GPIO_MODE_OUTPUT_PP;
  GPIO_InitStruct.Pull = GPIO_NOPULL;
  GPIO_InitStruct.Speed = GPIO_SPEED_FREQ_LOW;
  HAL_GPIO_Init(GPIOB, &GPIO_InitStruct);

  /* EXTI interrupt init*/
  HAL_NVIC_SetPriority(EXTI3_IRQn, 5, 0);
  HAL_NVIC_EnableIRQ(EXTI3_IRQn);

  HAL_NVIC_SetPriority(EXTI4_IRQn, 5, 0);
  HAL_NVIC_EnableIRQ(EXTI4_IRQn);

}

void TaskMain(void *argument)
{
  /* USER CODE BEGIN 5 */
  /* Infinite loop */
	int16_t aimingCounter = 0;
	int16_t firingCounter = 0;

	// LED_PWM_Start();
	// HAL_GPIO_WritePin(GPIOH, GPIO_PIN_10, 1);
	// __HAL_TIM_PRESCALER(&htim4, 2);
	// HAL_TIM_PWM_Start(&htim4, TIM_CHANNEL_3);
	// HAL_TIM_Base_Start(&htim4);
	if (BMI088_accel_init()) {
		//usart_printf("WARNING - BMI088 accelerometer init failed \r\n");
	}
	if (BMI088_gyro_init()) {
		usart_printf("WARNING - BMI088 gyroscope init failed \r\n");
	}
	if (ist8310_init()) {
		usart_printf("WARNING - IST8310 compass init failed \r\n");
	}
	CAN_defineMotor(Bus2, M3508, 1);
	CAN_defineMotor(Bus2, M2006, 2);
	CAN_defineMotor(Bus2, GM6020, 1);

	osDelay(150);

	// HAL_TIM_PWM_Stop(&htim4, TIM_CHANNEL_3);
	JoulesBuffer = 60;
	for(;;) {

    	int8_t leftSwitch = getRCswitch(1);
		// currentGameStatus = game_status.game_progress;
		if (game_status.game_progress == 0 && currentGameStatus < 0) {
			currentGameStatus = 0;
		} else if ((game_status.game_progress == 1 && currentGameStatus < 1) || leftSwitch == 2) {
			currentGameStatus = 1;
		} else if (game_status.game_progress == 2 && currentGameStatus < 2) {
			currentGameStatus = 2;
		} else if (game_status.game_progress == 3 && currentGameStatus < 3) {
			currentGameStatus = 3;
		} else if ((game_status.game_progress == 4 && currentGameStatus < 4) || leftSwitch == 3) {
			currentGameStatus = 4;
		} else if ((game_status.game_progress == 5 && currentGameStatus < 5) || leftSwitch == 1) {
			currentGameStatus = 5;
		}
		PWMOutput(LED, 2, 1);
		PWMInitialize(LED, FR, 2, 0.5);
		settingMaxCurrentVal((float)power_heat_data.buffer_energy,100);

		// 0 = red, 1 = blue
		// 0 = SHOOT AT BLUE, 1 = SHOOT AT RED

		switch (currentGameStatus) {
		case 0:
			calibration = 0;
			rotationTime = 0;
			shootingPhase = 0;
			songPhase = 0;
			break;
		case 1:
			calibration = 1;
			rotationTime = 0;
			shootingPhase = 0;
			songPhase = 0;
			break;
		case 2:
			calibration = 1;
			rotationTime = 0;
			shootingPhase = 0;
			songPhase = 1;
			break;
		case 3:
			calibration = 1;
			rotationTime = 0;
			shootingPhase = 0;
			songPhase = 1;
			break;
		case 4:
			calibration = 0;
			rotationTime = 1;
			shootingPhase = 1;
			songPhase = 1;
			break;
		case 5:
			calibration = 0;
			rotationTime = 0;
			shootingPhase = 0;
			songPhase = 0;
			break;
		}

		uint8_t deltaY = 20;
		uint8_t deltaX = 20;

		if (shootingPhase == 1) {
			switch (robot_status.robot_id) {
			case 0:
				if (getBlueX() != 255) {
					aimingCounter = 100;
				} else {
					aimingCounter--;
				}
				if (aimingCounter < 0) {
					aimingCounter = 0;
					firingStages = 0;
				} else if (aimingCounter > 0){
					firingStages = 1;
				}

				if (firingCounter > 0) {
					firingCounter--;
				}
				if (firingCounter == 0) {
					SHOOT = 0;
				} else {
					SHOOT = 1;
				}
				if ((getBlueX() < (setX + deltaX)) && (getBlueX() > (setX - deltaX)) && (getBlueY() < (setY + deltaY)) && (getBlueY() > (setY - deltaY))) {
					firingCounter = 5;
				}

			case 1:
				if (getRedX() != 255) {
					aimingCounter = 100;
				} else {
					aimingCounter--;
				}
				if (aimingCounter < 0) {
					aimingCounter = 0;
					firingStages = 0;
				} else if (aimingCounter > 0){
					firingStages = 1;
				}

				if (firingCounter > 0) {
					firingCounter--;
				}
				if (firingCounter == 0) {
					SHOOT = 0;
				} else {
					SHOOT = 1;
				}
				if ((getRedX() < (setX + deltaX)) && (getRedX() > (setX - deltaX)) && (getRedY() < (setY + deltaY)) && (getRedY() > (setY - deltaY))) {
					firingCounter = 5;
				}
			}
		} else {
			firingStages = 0;
			SHOOT = 0;
		}

		osDelay(5);

	}
  /* USER CODE END 5 */
}

void TaskChassis(void *argument)
{
  /* USER CODE BEGIN TaskChassis */

	PWMInit(&htim1, &htim4, &htim5, &htim8);

    int16_t rcRPM[4] = {0,0,0,0};                              // maps rc percentage reading to motors, assuming we're running M3508s at max 469RPM
    int16_t chassisTargetRPM[4] = {0, 0, 0, 0};

    int16_t rcYaw = 0;
    int16_t chassisrcYaw = 0;

    // int16_t rcPitch = 0;   	                    // range: 2204 ~ 4726

    int8_t jammed = 0;
    int8_t indexerStopped = 1;
    int8_t indexerTargetReached = 0;

    int8_t previousC = 0;

    int8_t bufferDead = 0;
    int8_t M3508Voltage = 24;

    maxPower = 0;
    float scuffedMaxedPower = 0;
    // float percentagePowerLimit = 1;

    float gyroidValue = 0;

    // int8_t switchForShooter = 0;
    int8_t motorOn = 0;

    float MC[4] = {0, 0, 0, 0};

    /*
	int16_t xJoystickDirection = 0;
	int16_t yJoystickDirection = 0;
	int16_t rotationOfChassis = 0;
	*/

    // int8_t switcherForBuzzer = 0;
    // int16_t counterForBuzzer = 0;

    int16_t turretPitchNew = 4750;

    // int32_t actualTurretAngle = 0;

    double convertedAngle = 0;
    int16_t rotationSpeedOfChassis = 0;
    // int16_t 你是一个奴隶 = 5;

    int8_t chassisVsTurretDrive = 0;
    int32_t motorRotationCounter = 0;
	int64_t turretMotorPosition = 0;
	int16_t initialTurretPosition = getRotorPosition(Bus2, GM6020, 1);
	int16_t currentMotorPosition = getRotorPosition(Bus2, GM6020, 1);
	int16_t previousMotorPosition = getRotorPosition(Bus2, GM6020, 1);
	int16_t turingDirectionX = 0;
	int16_t turingDirectionY = 0;

	uint8_t blueX = 0;
	uint8_t blueY = 0;
	uint8_t redX = 0;
	uint8_t redY = 0;

	int8_t cantShoot = 0;

	// int8_t indexCounter = 0;
	// int32_t motorEncoderCounter = 0;
    //int16_t targetRPM[4] = {0,0,0,0};

  /* Infinite loop */
    for(;;) {

    	int8_t leftSwitch = getRCswitch(1);
    	int8_t rightSwitch = getRCswitch(0);

    	currentMotorPosition = getRotorPosition(Bus1, GM6020, 4);
    	if ((currentMotorPosition - previousMotorPosition) < -6000) {
    		motorRotationCounter++;
    	} else if ((currentMotorPosition - previousMotorPosition) > 6000) {
    		motorRotationCounter--;
    	}

    	turretMotorPosition = currentMotorPosition + (8191 * motorRotationCounter);

    	// actualTurretAngle = ((turretMotorPosition - initialTurretPosition)*0.025408f);
    	convertedAngle = ((turretMotorPosition - initialTurretPosition)* 0.0004434705f);

    	// usart_printf("%d %d %d\r\n", turretMotorPosition, initialTurretPosition, actualTurretAngle);
    	previousMotorPosition = getRotorPosition(Bus1, GM6020, 4);

	    for (int i = 0; i < 4; i++) {
	        rcRPM[i] = getRCchannel(i) * 13.645f;              // 13.645 = 469 / 187 / 660 * 3591, 660 = max reading in one direction
	    }

	    rcYaw = getRCchannel(4) * 0.85f;
	    chassisrcYaw = getRCchannel(0)*0.85f;

	    if (calibration == 1) {
	        motorRotationCounter = 0;
	    	turretMotorPosition = 0;
	    	initialTurretPosition = getRotorPosition(Bus1, GM6020, 1);
	        // actualTurretAngle = 0;
	        convertedAngle = 0;
	    }

	    int16_t turretPitch = getRCchannel(1)* 0.85f;

	    allCheShit(0, 0, 0, 0, rotationTime, rcRPM, 1, convertedAngle, chassisPreset);
	    if (shootingPhase == 1) {
			if(getBlueX() != 255) {
				blueX = getBlueX();
			}
			if(getBlueY() != 255) {
				blueY = getBlueX();
			}
			if(getRedX() != 255) {
				redX = getBlueX();
			}
			if(getRedY() != 255) {
				redY = getBlueX();
			}

			if ((firingStages == 1) && (robot_status.robot_id == 0)) {
				turingDirectionX = (-1*((int16_t)(getBlueX())-(setX)))*1;
				turingDirectionY = (-1*((int16_t)(getBlueY())-(setY)))*0.02;
				// usart_printf("working");
			} else if ((firingStages == 0) && (robot_status.robot_id == 0)){
				turingDirectionX = -1000;
				turingDirectionY = 0;
				turretPitchNew = 4750;
				// usart_printf("EROOR");
			}
			if ((firingStages == 1) && (robot_status.robot_id == 1)) {
				turingDirectionX = (-1*((int16_t)(getRedX())-(setX)))*1;
				turingDirectionY = (-1*((int16_t)(getRedY())-(setY)))*0.02;
			} else if ((firingStages == 0) && (robot_status.robot_id == 1)){
				turingDirectionX = -1000;
				turingDirectionY = 0;
				turretPitchNew = 4750;
			}
	    } else {
	    	turingDirectionY = 0;
	    	turingDirectionX = 0;
		    turretPitchNew -= turingDirectionY + turretPitch;
	    }
	    usart_printf("%d %d %d %d %d\r\n", getBlueX(), getBlueY(), turingDirectionX, turingDirectionY, firingStages);

	    if (turretPitchNew > 5170) {
	    	turretPitchNew = 5170;
	    } else if (turretPitchNew < 4330) {
	    	turretPitchNew = 4330;
	    }

	    setMotorPosition(Bus2, GM6020, 3, turretPitchNew, pitchPresetVoltagePosition);

	    //setMotorRPM(Bus2, M3508, 8, 50, shooterPreset);
	    float gyroVel[3] = {IMU_get_gyro(x), IMU_get_gyro(y), IMU_get_gyro(z)};

    	if (((gyroVel[2] > -0.02) && (gyroVel[2] < 0.02))) {
    		gyroVel[2] = 0;
    	}

    	gyroidValue += (gyroVel[2] + (0.008*((float)(turingDirectionX)))*0.4* mouseXScaler) + (0.008*((float)(getRCchannel(4)))*0.4*mouseXScaler);
    	setMotorRPM(Bus1, GM6020, 4, (int16_t)(10*gyroidValue), yawPresetVoltageRPM);

    	/*
	    if (chassisVsTurretDrive == 1) {
	    	// usart_printf("%f, %f, %f\r\n", gyroVel[0], gyroVel[1], gyroVel[2]);
	    	// gyroidValue += gyroVel[2]*0.005;
	    	if (((gyroVel[2] > -0.02) && (gyroVel[2] < 0.02))) {
	    		gyroVel[2] = 0;
	    	}

	    	gyroidValue += (gyroVel[2] + 0.008*((float)(pc_control.mouse_x)))*0.4* mouseXScaler;
	    	setMotorRPM(Bus1, GM6020, 1, (int16_t)(20*gyroidValue), yawPresetVoltageRPM);
	    } else {

	    	setMotorRPM(Bus1, GM6020, 1, -0.5*(int16_t)(mouseXScaler*(float)(pc_control.mouse_x)), yawPresetVoltageRPM);
	    }
		*/
    	uint16_t firingHeatTemp = power_heat_data.shooter_17mm_1_barrel_heat;

		if (firingHeatTemp > 350) {
			cantShoot = 1;
		} else {
			cantShoot = 0;
		}

	    int16_t flywheelSpeed = getMotorRPM(Bus2, M3508, 6);

	    if ((pc_control.right_button_down == 1) || (pc_control.left_button_down == 1) || (rightSwitch == 3) || (rightSwitch == 1) || (SHOOT == 1)) {
	    	motorOn = 1;
	    } else {
	    	motorOn = 0;
	    }

	    if ((pc_control.left_button_down == 1 || rightSwitch == 1 || SHOOT == 1) && (flywheelSpeed > 7000) && (cantShoot == 0)) {
	    	// setMotorRPM(Bus2, M2006, 6, (100), indexerPreset);

			if (jammed > 0 && indexerStopped == 0) {
				setMotorRPM(Bus2, M2006, 1, 15000, indexerPreset);
				jammed--;
			} else {
				indexerStopped = 0;
				setMotorRPM(Bus2, M2006, 1, -5400, indexerPreset);
				if (indexerTargetReached == 0 && getMotorRPM(Bus2, M2006, 1) <= -10) {
					indexerTargetReached = 1;
				} else if (getMotorRPM(Bus2, M2006, 1) > -1 && indexerTargetReached == 1) {         // jammed
					jammed = 12;
					indexerTargetReached = 0;
				}
			}
	    } else {
			indexerStopped = 1;
			indexerTargetReached = 0;
	    	setMotorRPM(Bus2, M2006, 1, 0, indexerPreset);
	    }

	    // PWMOff(Buzzer, 1);
		setMotorRPM(Bus2, M3508, 5, -7250*motorOn, flywheel);
		setMotorRPM(Bus2, M3508, 6, 7250*motorOn, flywheel);

		if (songPhase == 1) {
			uint32_t notes = HampsterNotes();
			PWMOutput(Buzzer, 1, notes);
			PWMInitialize(Buzzer, FR, 1, 0.5);
			PWMOn(Buzzer, 1);
		} else {
			PWMOff(Buzzer, 1);
		}

	    // int16_t motorSpeeddd = getMotorRPM(Bus1, GM6020, 1);

		PWMTimerStarter();
		RCkeysRefresh();
        osDelay(5);
    }
  /* USER CODE END TaskChassis */
}

__weak void imu_temp_control_task(void *argument)
{
  for(;;)
  {
    osDelay(1);
  }
}

void TaskTurret(void *argument)
{
  /* USER CODE BEGIN TaskTurret */
	// JoulesBuffer = 60;
  /* Infinite loop */
	for(;;)
	{
		osDelay(5);
	}
  /* USER CODE END TaskTurret */
}

void Error_Handler(void)
{
  __disable_irq();
  while (1)
  {
  }
}
